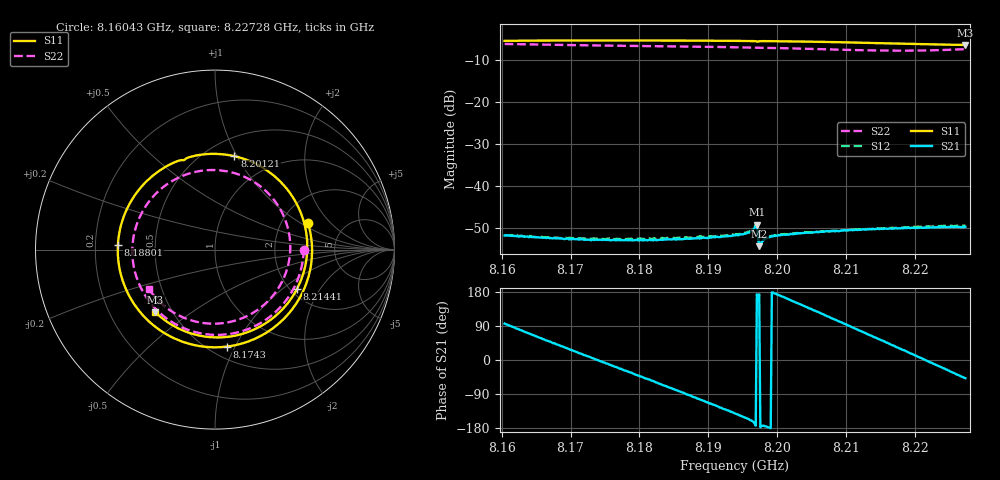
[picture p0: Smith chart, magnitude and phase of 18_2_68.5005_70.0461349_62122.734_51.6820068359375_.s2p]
#  HZ  S  RI  R  50.00
! Rohde & Schwarz Vector Network Analyzer
! Rohde-Schwarz,ZNB20-2Port,1311601062101988,3.16
! Created: UTC 3/20/2024, 5:04:33 PM
! freq[Hz]  re:S11  im:S11  re:S21  im:S21  re:S12  im:S12  re:S22  im:S22
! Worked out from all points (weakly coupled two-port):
!   401 points, 8.16043 GHz to 8.22728 GHz, reference 50 ohm
!   highest |S21| = -49.31 dB at 8.19703 GHz (marker M1); lowest = -54.4 dB at 8.19737 GHz (marker M2)
!   lowest |S11| = -6.3 dB at 8.22728 GHz (marker M3), VSWR 2.86, Z = 20.3 - j18.4 ohm
!   |S11| at or under -10 dB: nowhere
!   |S22| runs from -7.7 to -6.1 dB; largest |S21 - S12| = 0.00024
!   S11 on the Smith chart (normalised r, x): 8.16043 GHz: 2.79, +1.17; 8.1743 GHz: 0.60, -0.93; 8.18801 GHz: 0.30, +0.02; 8.20121 GHz: 0.67, +0.98; 8.21441 GHz: 2.18, -1.27; 8.22728 GHz: 0.41, -0.37
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8.160432e9  0.518 0.1487  -0.000274 0.00254  -0.000279 0.00259  0.4945 0.000523
8.16578e9  0.503 -0.2039  0.0013 0.00203  0.00132 0.00208  0.3869 -0.2946
8.171629e9  0.2406 -0.4882  0.00221 0.000628  0.00226 0.000664  0.1004 -0.4669
8.174303e9  0.0667 -0.5404  0.00226 -0.000124  0.00234 -9.09e-05  -0.0522 -0.471
8.178314e9  -0.2034 -0.5046  0.00193 -0.00114  0.00199 -0.00122  -0.2625 -0.389
8.182827e9  -0.4441 -0.3127  0.00105 -0.002  0.00108 -0.00209  -0.421 -0.1956
8.188008e9  -0.5409 0.0282  -0.000351 -0.00234  -0.000408 -0.0024  -0.4507 0.0865
8.190849e9  -0.4935 0.2202  -0.00117 -0.00214  -0.00127 -0.00214  -0.392 0.2326
8.193857e9  -0.3708 0.3906  -0.00199 -0.0016  -0.00208 -0.00158  -0.2789 0.3556
8.196698e9  -0.1995 0.4961  -0.00306 -0.000698  -0.00318 -0.000604  -0.1368 0.4261
8.197032e9  -0.1755 0.4982  -0.0034 0.000393  -0.00343 0.000489  -0.1186 0.4309
8.197367e9  -0.1625 0.5066  -0.00189 0.00022  -0.00191 0.0003  -0.1002 0.4349
8.197701e9  -0.1388 0.5163  -0.0021 -0.000215  -0.00212 -0.000126  -0.0816 0.4383
8.198871e9  -0.0561 0.5313  -0.00244 -5.11e-05  -0.00249 5.77e-05  -0.0156 0.4435
8.201211e9  0.1085 0.5204  -0.00249 0.000731  -0.00249 0.00087  0.1159 0.4238
8.205054e9  0.3469 0.3953  -0.0019 0.00203  -0.0018 0.00208  0.3025 0.3075
8.209901e9  0.5077 0.0972  -0.000228 0.00293  -0.000123 0.00295  0.4181 0.0491
8.214413e9  0.4577 -0.2171  0.00163 0.00259  0.00171 0.00258  0.3518 -0.2166
8.216252e9  0.3823 -0.3259  0.00226 0.00211  0.00238 0.00205  0.2761 -0.3051
8.219093e9  0.2172 -0.4457  0.00298 0.00104  0.00306 0.000959  0.1166 -0.3945
8.221767e9  0.0296 -0.4891  0.00317 -0.000129  0.00326 -0.000276  -0.0591 -0.4097
8.227282e9  -0.3324 -0.3483  0.00217 -0.00242  0.00209 -0.00263  -0.3699 -0.2168
